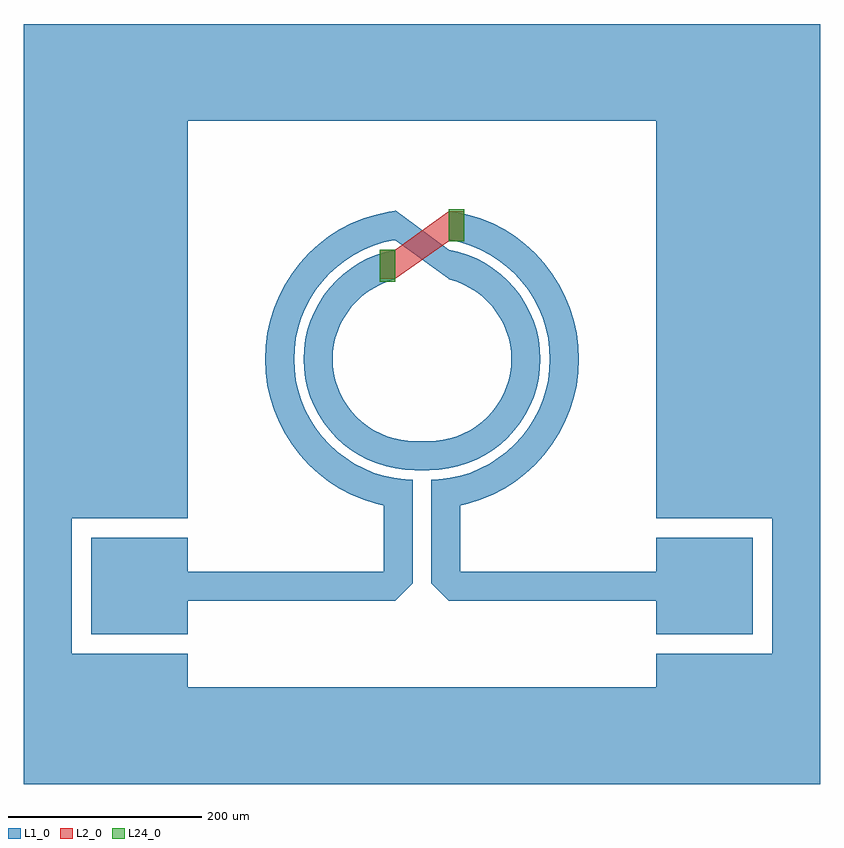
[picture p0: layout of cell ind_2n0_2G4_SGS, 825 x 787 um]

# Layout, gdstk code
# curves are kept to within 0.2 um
import gdstk
lib = gdstk.Library(unit=1e-6, precision=1e-10)
def R(c, l, rs):  # rectangles x0, y0, x1, y1
    for r in rs: c.add(gdstk.rectangle(r[:2], r[2:], *l))
def P(c, l, *ps):  # polygons
    for p in ps: c.add(gdstk.Polygon(p, *l))
L1_0 = (1, 0)
L2_0 = (2, 0)
L24_0 = (24, 0)

ind_2n0_2g4_sgs = lib.new_cell('ind_2n0_2G4_SGS')
R(ind_2n0_2g4_sgs, L1_0, [(-405,-248,-355,-93), (370,-248,420,-93), (-335,-220,-235,-120), (250,-220,350,-120), (-32,-110,-2,-60), (17,-110,47,-60), (-405,-100,-235,335), (250,-100,420,335), (0,-50,15,-20), (-405,312,420,412)])
P(ind_2n0_2g4_sgs, L1_0, [(-245,-155),(-32,-155),(-32,-110),(-2,-110),(-2,-167),(-20,-185),(-245,-185)],
  [(260,-155),(47,-155),(47,-110),(17,-110),(17,-167),(35,-185),(260,-185)],
  [(-405,-375),(420,-375),(420,-240),(250,-240),(250,-275),(-235,-275),(-235,-240),(-405,-240)],
  [(35,188.3256),(47.3524,185.7407),(57.7525,182.4616),(67.8273,178.2885),(77.5,173.2532),(86.6971,167.394),(95.3485,160.7556),(103.3883,153.3883),(110.7556,145.3485),(117.394,136.6971),(123.2532,127.5),(128.2885,117.8273),(132.4616,107.7525),(135.7407,97.3524),(138.101,86.706),(139.5243,75.8945),(140,65),(139.5243,54.1055),(138.101,43.294),(135.7407,32.6476),(132.4616,22.2475),(128.2885,12.1727),(123.2532,2.5),(117.394,-6.6971),(110.7556,-15.3485),(103.3883,-23.3883),(95.3485,-30.7556),(86.6971,-37.394),(77.5,-43.2532),(67.8273,-48.2885),(57.7525,-52.4616),(47.3524,-55.7407),(36.706,-58.101),(25,-59.5634),(25,-89.5634),(28.5091,-89.4102),(41.9155,-87.6452),(55.117,-84.7185),(68.0131,-80.6524),(80.5058,-75.4777),(92.5,-69.2339),(103.9043,-61.9686),(114.6321,-53.7369),(124.6016,-44.6016),(133.7369,-34.6321),(141.9686,-23.9043),(149.2339,-12.5),(155.4777,-0.5058),(160.6524,11.9869),(164.7185,24.883),(167.6452,38.0845),(169.4102,51.4909),(170,64.9999),(169.4102,78.5091),(167.6452,91.9155),(164.7185,105.117),(160.6524,118.0131),(155.4777,130.5058),(149.2339,142.5),(141.9686,153.9043),(133.7369,164.6321),(124.6016,174.6016),(114.6321,183.7369),(103.9043,191.9686),(92.5,199.2339),(80.5058,205.4777),(68.0131,210.6524),(55.117,214.7185),(41.9155,217.6452),(35,218.5557)],
  [(-20,218.5557),(-26.9155,217.6452),(-40.117,214.7185),(-53.0131,210.6524),(-65.5058,205.4777),(-77.5,199.2339),(-88.9043,191.9686),(-99.6321,183.7369),(-109.6016,174.6016),(-118.7369,164.6321),(-126.9686,153.9043),(-134.2339,142.5),(-140.4777,130.5058),(-145.6524,118.0131),(-149.7185,105.117),(-152.6452,91.9155),(-154.4102,78.5091),(-155,64.9999),(-154.4102,51.4909),(-152.6452,38.0845),(-149.7185,24.883),(-145.6524,11.9869),(-140.4777,-0.5058),(-134.2339,-12.5),(-126.9686,-23.9043),(-118.7369,-34.6321),(-109.6016,-44.6016),(-99.6321,-53.7369),(-88.9043,-61.9686),(-77.5,-69.2339),(-65.5058,-75.4777),(-53.0131,-80.6524),(-40.117,-84.7185),(-26.9155,-87.6452),(-13.5091,-89.4102),(-10,-89.5634),(-10,-59.5634),(-21.706,-58.101),(-32.3524,-55.7407),(-42.7525,-52.4616),(-52.8273,-48.2885),(-62.5,-43.2532),(-71.6971,-37.394),(-80.3485,-30.7556),(-88.3883,-23.3883),(-95.7556,-15.3485),(-102.394,-6.6971),(-108.2532,2.5),(-113.2885,12.1727),(-117.4616,22.2475),(-120.7407,32.6476),(-123.101,43.294),(-124.5243,54.1055),(-125,65),(-124.5243,75.8945),(-123.101,86.706),(-120.7407,97.3524),(-117.4616,107.7525),(-113.2885,117.8273),(-108.2532,127.5),(-102.394,136.6971),(-95.7556,145.3485),(-88.3883,153.3883),(-80.3485,160.7556),(-71.6971,167.394),(-62.5,173.2532),(-52.8273,178.2885),(-42.7525,182.4616),(-32.3524,185.7407),(-20,188.3256)],
  [(-7.4082,-19.6765),(-14.7601,-18.7087),(-21.9996,-17.1037),(-29.0717,-14.8739),(-35.9226,-12.0362),(-42.5,-8.6122),(-48.754,-4.6279),(-54.6369,-0.1138),(-60.1041,4.8959),(-65.1138,10.3631),(-69.6279,16.246),(-73.6122,22.5),(-77.0362,29.0774),(-79.8739,35.9283),(-82.1037,43.0004),(-83.7087,50.2399),(-84.6765,57.5918),(-85,65),(-84.6765,72.4082),(-83.7087,79.7601),(-82.1037,86.9996),(-79.8739,94.0717),(-77.0362,100.9226),(-73.6122,107.5),(-69.6279,113.754),(-65.1138,119.6369),(-60.1041,125.1041),(-54.6369,130.1138),(-48.754,134.6279),(-42.5,138.6122),(-35.9226,142.0362),(-29.0717,144.8739),(-20,147.547),(-20,178.2461),(-29.7642,176.0815),(-39.3323,173.0647),(-48.6011,169.2254),(-57.5,164.5929),(-65.9613,159.2025),(-73.9206,153.0951),(-81.3173,146.3173),(-88.0951,138.9206),(-94.2025,130.9613),(-99.5929,122.5),(-104.2254,113.6011),(-108.0647,104.3323),(-111.0815,94.7642),(-113.2529,84.9695),(-114.5624,75.0229),(-115,65.0001),(-114.5624,54.9771),(-113.2529,45.0305),(-111.0815,35.2358),(-108.0647,25.6677),(-104.2254,16.3989),(-99.5929,7.5),(-94.2025,-0.9613),(-88.0951,-8.9206),(-81.3173,-16.3173),(-73.9206,-23.0951),(-65.9613,-29.2025),(-57.5,-34.5929),(-48.6011,-39.2254),(-39.3323,-43.0647),(-29.7642,-46.0815),(-19.9695,-48.2529),(-10.0229,-49.5624),(0,-50),(0,-20)],
  [(-20,219),(35,178),(35,148),(-20,188)],
  [(22.4082,-19.6765),(29.7601,-18.7087),(36.9996,-17.1037),(44.0717,-14.8739),(50.9226,-12.0362),(57.5,-8.6122),(63.754,-4.6279),(69.6369,-0.1138),(75.1041,4.8959),(80.1138,10.3631),(84.6279,16.246),(88.6122,22.5),(92.0362,29.0774),(94.8739,35.9283),(97.1037,43.0004),(98.7087,50.2399),(99.6765,57.5918),(100,65),(99.6765,72.4082),(98.7087,79.7601),(97.1037,86.9996),(94.8739,94.0717),(92.0362,100.9226),(88.6122,107.5),(84.6279,113.754),(80.1138,119.6369),(75.1041,125.1041),(69.6369,130.1138),(63.754,134.6279),(57.5,138.6122),(50.9226,142.0362),(44.0717,144.8739),(35,147.547),(35,178.2461),(44.7642,176.0815),(54.3323,173.0647),(63.6011,169.2254),(72.5,164.5929),(80.9613,159.2025),(88.9206,153.0951),(96.3173,146.3173),(103.0951,138.9206),(109.2025,130.9613),(114.5929,122.5),(119.2254,113.6011),(123.0647,104.3323),(126.0815,94.7642),(128.2529,84.9695),(129.5624,75.0229),(130,65.0001),(129.5624,54.9771),(128.2529,45.0305),(126.0815,35.2358),(123.0647,25.6677),(119.2254,16.3989),(114.5929,7.5),(109.2025,-0.9613),(103.0951,-8.9206),(96.3173,-16.3173),(88.9206,-23.0951),(80.9613,-29.2025),(72.5,-34.5929),(63.6011,-39.2254),(54.3323,-43.0647),(44.7642,-46.0815),(34.9695,-48.2529),(25.0229,-49.5624),(15,-50),(15,-20)])
R(ind_2n0_2g4_sgs, L2_0, [(-36,148,-20,178), (35,187,51,218)])
P(ind_2n0_2g4_sgs, L2_0, [(-20,148),(35,187),(35,218),(-20,178)])
R(ind_2n0_2g4_sgs, L24_0, [(-36,145,-20,178), (35,187,51,220)])

lib.write_gds('ind_2n0_2G4_SGS.gds')
